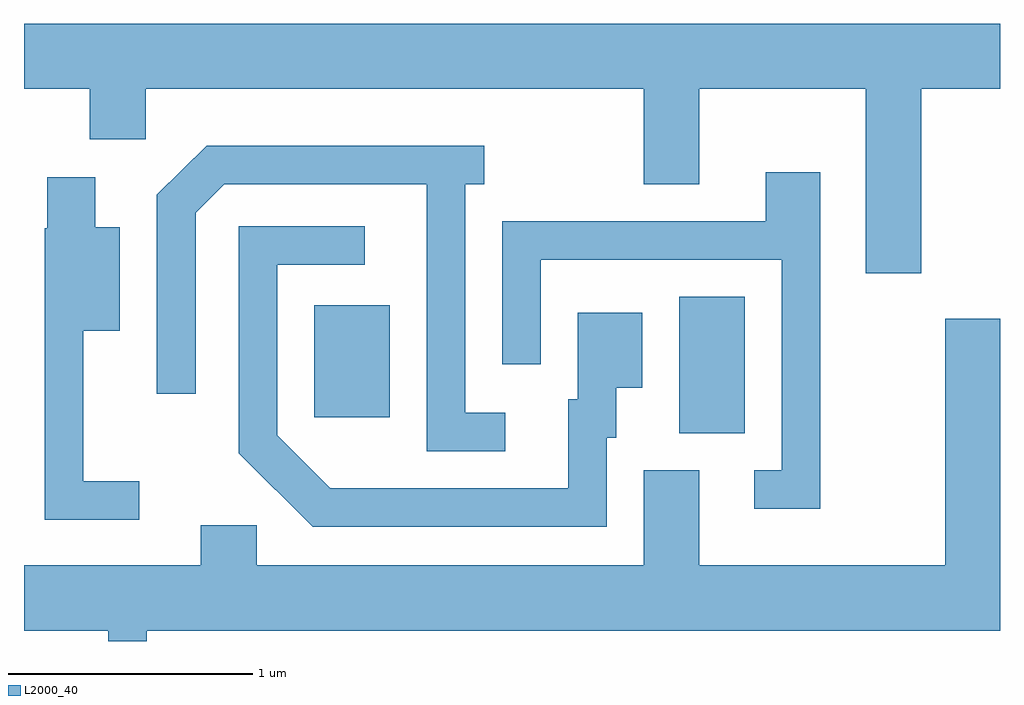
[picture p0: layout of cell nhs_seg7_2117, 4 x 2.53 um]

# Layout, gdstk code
import gdstk
lib = gdstk.Library(unit=1e-6, precision=1e-09)
def R(c, l, rs):  # rectangles x0, y0, x1, y1
    for r in rs: c.add(gdstk.rectangle(r[:2], r[2:], *l))
def P(c, l, *ps):  # polygons
    for p in ps: c.add(gdstk.Polygon(p, *l))
L2000_40 = (2000, 40)

nhs_seg7_2117 = lib.new_cell('nhs_seg7_2117')
R(nhs_seg7_2117, L2000_40, [(252.296,1735.106,252.564,1735.664), (250.801,1735.171,251.109,1735.629)])
P(nhs_seg7_2117, L2000_40, [(253.289,1736.516),(253.611,1736.516),(253.611,1736.784),(249.611,1736.784),(249.611,1736.516),(249.881,1736.516),(249.881,1736.311),(250.109,1736.311),(250.109,1736.516),(252.151,1736.516),(252.151,1736.126),(252.379,1736.126),(252.379,1736.516),(253.061,1736.516),(253.061,1735.761),(253.289,1735.761)],
  [(251.583,1735.189),(251.419,1735.189),(251.419,1736.126),(251.498,1736.126),(251.498,1736.284),(250.359,1736.284),(250.156,1736.082),(250.156,1735.268),(250.314,1735.268),(250.314,1736.009),(250.432,1736.126),(251.261,1736.126),(251.261,1735.031),(251.583,1735.031)],
  [(252.874,1736.174),(252.651,1736.174),(252.651,1735.974),(251.571,1735.974),(251.571,1735.388),(251.729,1735.388),(251.729,1735.816),(252.716,1735.816),(252.716,1734.954),(252.603,1734.954),(252.603,1734.796),(252.874,1734.796)],
  [(250.083,1734.909),(249.854,1734.909),(249.854,1735.526),(250.004,1735.526),(250.004,1735.949),(249.904,1735.949),(249.904,1736.154),(249.706,1736.154),(249.706,1735.945),(249.696,1735.945),(249.696,1734.751),(250.083,1734.751)],
  [(251.999,1735.086),(252.039,1735.086),(252.039,1735.291),(252.144,1735.291),(252.144,1735.599),(251.881,1735.599),(251.881,1735.244),(251.841,1735.244),(251.841,1734.879),(250.867,1734.879),(250.649,1735.097),(250.649,1735.796),(251.008,1735.796),(251.008,1735.954),(250.491,1735.954),(250.491,1735.024),(250.794,1734.721),(251.999,1734.721)],
  [(250.114,1734.296),(253.611,1734.296),(253.611,1735.574),(253.386,1735.574),(253.386,1734.564),(252.379,1734.564),(252.379,1734.954),(252.151,1734.954),(252.151,1734.564),(250.564,1734.564),(250.564,1734.729),(250.336,1734.729),(250.336,1734.564),(249.611,1734.564),(249.611,1734.296),(249.956,1734.296),(249.956,1734.252),(250.114,1734.252)])

lib.write_gds('nhs_seg7_2117.gds')
